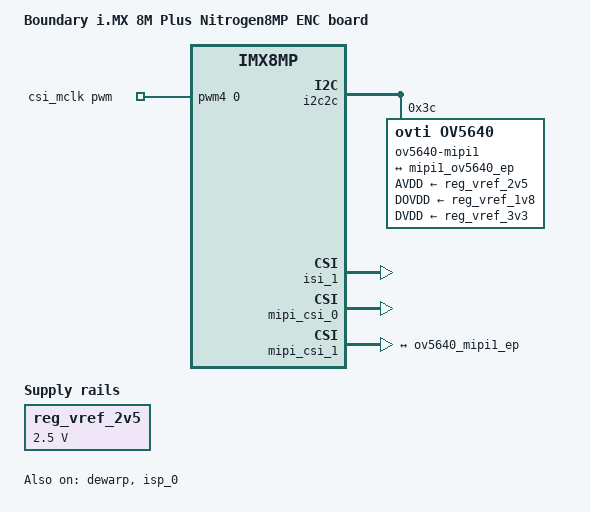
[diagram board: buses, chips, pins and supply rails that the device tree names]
// SPDX-License-Identifier: (GPL-2.0+ OR MIT)
/*
 * Copyright 2021 Boundary Devices
 */

#include "imx8mp-nitrogen8mp.dts"

/ {
	model = "Boundary i.MX 8M Plus Nitrogen8MP ENC board";
	compatible = "boundary,imx8mp-nitrogen8mp-enc", "fsl,imx8mp";

	/delete-node/ regulator-can2-stby;

	csi_mclk: csi-mclk {
		compatible = "pwm-clock";
		#clock-cells = <0>;
		clock-frequency = <20000000>;
		clock-output-names = "csi_mclk";
		pwms = <&pwm4 0 50 0>; /* 1 / 50 ns = 20 MHz */
	};

	reg_vref_2v5: regulator-vref-2v5 {
		compatible = "regulator-fixed";
		regulator-name = "vref-2v5";
		regulator-min-microvolt = <2500000>;
		regulator-max-microvolt = <2500000>;
	};
};

&iomuxc {
	/delete-node/ fecgrp;
	/delete-node/ flexcan2grp;
	/delete-node/ flexcan2reggrp;
	/delete-node/ hoggrp;
	/delete-node/ key-can2grp;

	pinctrl_hog: hoggrp {
		fsl,pins = <
			MX8MP_IOMUXC_HDMI_CEC__HDMIMIX_HDMI_CEC		0x40000019
			MX8MP_IOMUXC_HDMI_DDC_SCL__HDMIMIX_HDMI_SCL	0x400001c3
			MX8MP_IOMUXC_HDMI_DDC_SDA__HDMIMIX_HDMI_SDA	0x400001c3
			MX8MP_IOMUXC_HDMI_HPD__HDMIMIX_HDMI_HPD		0x40000019
			MX8MP_IOMUXC_NAND_DATA01__GPIO3_IO07		0x41	/* J9 pin 17 */
			/* J23 */
			MX8MP_IOMUXC_SAI1_TXD7__GPIO4_IO19		0x41	/* pin 1 */
			MX8MP_IOMUXC_SAI1_RXD4__GPIO4_IO06		0x41	/* pin 3 */
			MX8MP_IOMUXC_SAI1_TXC__GPIO4_IO11		0x41	/* pin 5 */
			MX8MP_IOMUXC_SAI1_RXD5__GPIO4_IO07		0x41	/* pin 7 */
			MX8MP_IOMUXC_GPIO1_IO07__GPIO1_IO07		0x41	/* pin 9 */
			MX8MP_IOMUXC_SAI1_RXD6__GPIO4_IO08		0x41	/* pin 11 */
			MX8MP_IOMUXC_SAI1_TXD4__GPIO4_IO16		0x41	/* pin 13 */
			MX8MP_IOMUXC_SAI1_RXD7__GPIO4_IO09		0x41	/* pin 15 */
			MX8MP_IOMUXC_SAI1_TXFS__GPIO4_IO10		0x41	/* pin 17 */
			MX8MP_IOMUXC_SAI1_TXD0__GPIO4_IO12		0x41	/* pin 19 */
			MX8MP_IOMUXC_ECSPI1_MISO__GPIO5_IO08		0x41	/* pin 21 */
			MX8MP_IOMUXC_SAI1_TXD1__GPIO4_IO13		0x41	/* pin 23 */
			MX8MP_IOMUXC_SAI1_RXD2__GPIO4_IO04		0x41	/* pin 25 */
			MX8MP_IOMUXC_SAI1_TXD2__GPIO4_IO14		0x41	/* pin 27 */
			MX8MP_IOMUXC_SAI1_RXD3__GPIO4_IO05		0x41	/* pin 29 */
			MX8MP_IOMUXC_SAI1_TXD3__GPIO4_IO15		0x41	/* pin 31 */
			MX8MP_IOMUXC_SAI1_TXD5__GPIO4_IO17		0x41	/* pin 33 */

			MX8MP_IOMUXC_SAI1_MCLK__GPIO4_IO20		0x41	/* pin 4 */
			MX8MP_IOMUXC_SAI5_MCLK__GPIO3_IO25		0x41	/* pin 6 */
			MX8MP_IOMUXC_SAI5_RXD3__GPIO3_IO24		0x41	/* pin 8 */
#if 0
			/* ECSPI2 from nitrogen8mp */
			MX8MP_IOMUXC_ECSPI2_MISO__GPIO5_IO12		0x41	/* Pin 10 */
			MX8MP_IOMUXC_ECSPI2_MOSI__GPIO5_IO11		0x41	/* Pin 12 */
			MX8MP_IOMUXC_ECSPI2_SS0__GPIO5_IO13		0x41	/* Pin 14 */
			MX8MP_IOMUXC_ECSPI2_SCLK__GPIO5_IO10		0x41	/* Pin 16 */
#endif
			MX8MP_IOMUXC_ECSPI1_SS0__GPIO5_IO09		0x41	/* pin 18 */
			MX8MP_IOMUXC_SD1_DATA4__GPIO2_IO06		0x41	/* pin 22 */
			MX8MP_IOMUXC_SD1_DATA5__GPIO2_IO07		0x41	/* pin 24 */
			MX8MP_IOMUXC_SD1_DATA6__GPIO2_IO08		0x41	/* pin 26 */
			MX8MP_IOMUXC_SD1_RESET_B__GPIO2_IO10		0x41	/* pin 28 */
			MX8MP_IOMUXC_SPDIF_TX__GPIO5_IO03		0x41	/* pin 30 */
			MX8MP_IOMUXC_SD1_DATA7__GPIO2_IO09		0x41	/* pin 34 */
			MX8MP_IOMUXC_SAI2_RXD0__GPIO4_IO23		0x41	/* pin 36 */
#if 0
			/* UART3/UART4 from nitrogen8mp */
			MX8MP_IOMUXC_ECSPI1_MOSI__GPIO5_IO07		0x41	/* pin 40 */
			MX8MP_IOMUXC_UART4_TXD__GPIO5_IO29		0x41	/* pin 42 */
			MX8MP_IOMUXC_ECSPI1_SCLK__GPIO5_IO06		0x41	/* pin 44 */
#endif
		>;
	};

	pinctrl_i2c2c_ov5640_mipi: i2c2c-ov5640-mipigrp {
		fsl,pins = <
			/* J10 CSI2 capture */
#define GP_OV5640_MIPI_POWER_DOWN	<&gpio5 4 GPIO_ACTIVE_HIGH>
			MX8MP_IOMUXC_SPDIF_RX__GPIO5_IO04		0x141
#define GP_OV5640_MIPI_RESET		<&gpio5 5 GPIO_ACTIVE_LOW>
			MX8MP_IOMUXC_SPDIF_EXT_CLK__GPIO5_IO05		0x101
		>;
	};
};

&dewarp {
	status = "okay";
};

&fec {
	/delete-property/ pinctrl-0;
	status = "disabled";
};

&flexcan2 {
	/delete-property/ pinctrl-0;
	/delete-property/ xceiver-supply;
	status = "disabled";
};

&gpio_keys {
	pinctrl-0 = <&pinctrl_key_can1>;
	/delete-node/ can2;
};

&i2c2c {
	/delete-node/ basler_camera@36;

	ov5640-mipi1@3c {
		AVDD-supply = <&reg_vref_2v5>;
		DOVDD-supply = <&reg_vref_1v8>;
		DVDD-supply = <&reg_vref_3v3>;
		clocks = <&csi_mclk>;
		clock-names = "xclk";
		compatible = "ovti,ov5640";
		pinctrl-names = "default";
		pinctrl-0 = <&pinctrl_i2c2c_ov5640_mipi>;
		powerdown-gpios = GP_OV5640_MIPI_POWER_DOWN;
		reg = <0x3c>;
		reset-gpios = GP_OV5640_MIPI_RESET;
		status = "okay";

		port {
			ov5640_mipi1_ep: endpoint {
				clock-lanes = <0>;
				data-lanes = <1 2>;
				remote-endpoint = <&mipi1_ov5640_ep>;
			};
		};
	};
};

&isi_0 {
	status = "disabled";
};

&isi_1 {
	status = "okay";
};

&isp_0 {
	status = "okay";
};

&isp_1 {
	status = "disabled";
};

&mipi_csi_0 {
	status = "okay";
};

&mipi_csi_1 {
	status = "okay";

	port@1 {
		reg = <1>;

		mipi1_ov5640_ep: endpoint {
			remote-endpoint = <&ov5640_mipi1_ep>;
			data-lanes = <2>;
			csis-hs-settle = <13>;
			csis-clk-settle = <2>;
			csis-wclk;
		};
	};
};

&pwm4 {
	assigned-clocks = <&clk IMX8MP_CLK_PWM4>;
	assigned-clock-parents = <&clk IMX8MP_SYS_PLL1_40M>;
	assigned-clock-rates = <40000000>;
};

&reg_can1_stby {
	/delete-property/ enable-active-high;
};
